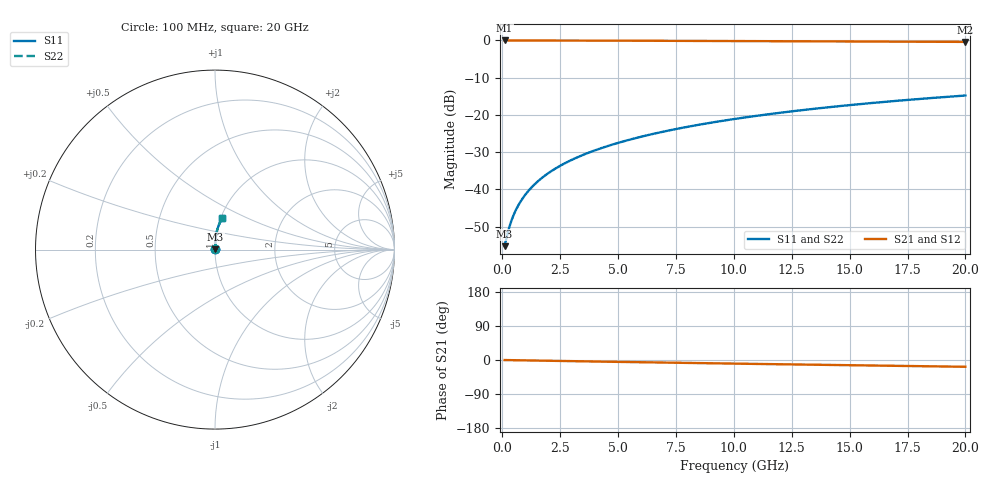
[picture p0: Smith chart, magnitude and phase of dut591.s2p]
! Touchstone file exported from HFSS 2024.1.0
!  File:  C:/UserFiles/LocalFiles/RDL_TSV_Batchsim/temp_RDL_top_591_1779682474.aedt
!  Generated:  12:16:49 PM May 25, 2026
!  Design:  RDL_top
!  Project:  temp_RDL_top_591_1779682474
!  Setup:  Setup1
!  Solution:  Sweep
! Variables:
!  dtsv = 10.80580581um
!  hbump = 3um
!  htsv = 93.78um
!  ldown = 100um
!  lrdl = 245.26um
!  p = 40
!  p1 = 40.01um
!  rhole = 1um
!  t = 450um
!  tdown = 3.915915916um
!  trdl = 3.54um
!  wdown = 15.38538539um
!  wrdl = 19.31um
# GHz S MA R 50.000000
! Terminal data exported
! Port[1] = Box2_T1
! Port[2] = Box2_T2
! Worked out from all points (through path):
!   200 points, 100 MHz to 20 GHz, reference 50 ohm
!   highest |S21| = -0.01 dB at 100 MHz (marker M1); lowest = -0.4 dB at 20 GHz (marker M2)
!   group delay of S21, straight-line fit = 2.47 ps
!   lowest |S11| = -55.2 dB at 100 MHz (marker M3), VSWR 1.00, Z = 50.1 + j0.0917 ohm
!   |S11| at or under -10 dB: start of sweep to end of sweep
!   |S22| runs from -55.2 to -14.8 dB; largest |S21 - S12| = 3e-15
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0.1  0.001734 31.8  0.9985 -0.1  0.9985 -0.1  0.001734 31.8
! Gamma 0 0 0 0
! Port Impedance 50 0 50 0
0.2  0.002364 49.7  0.9985 -0.2  0.9985 -0.2  0.002364 49.7
0.3  0.0031 59.1  0.9984 -0.3  0.9984 -0.3  0.0031 59.1
0.4  0.003861 64.7  0.9983 -0.4  0.9983 -0.4  0.003862 64.7
0.5  0.00463 68.5  0.9982 -0.5  0.9982 -0.5  0.004631 68.5
0.6  0.005404 71.3  0.9982 -0.6  0.9982 -0.6  0.005404 71.3
0.8  0.006966 75.2  0.998 -0.8  0.998 -0.8  0.006967 75.2
1.1  0.009345 78.8  0.9979 -1.1  0.9979 -1.1  0.009345 78.8
1.3  0.01095 80.4  0.9977 -1.3  0.9977 -1.3  0.01095 80.4
1.6  0.01338 82.1  0.9975 -1.6  0.9975 -1.6  0.01338 82.1
2.1  0.01747 83.9  0.997 -2.1  0.997 -2.1  0.01747 83.9
2.7  0.02245 85.2  0.9962 -2.7  0.9962 -2.7  0.02245 85.2
3.5  0.02919 86.2  0.995 -3.5  0.995 -3.5  0.02919 86.2
4.2  0.03519 86.7  0.9938 -4.2  0.9938 -4.2  0.03519 86.7
5  0.04215 87.0  0.9922 -5.0  0.9922 -5.0  0.04215 87.0
5.9  0.05014 87.0  0.9903 -5.8  0.9903 -5.8  0.05014 87.0
6.8  0.05826 86.9  0.9882 -6.7  0.9882 -6.7  0.05826 86.9
8.4  0.07299 86.2  0.9843 -8.1  0.9843 -8.1  0.07299 86.2
10.1  0.08894 85.3  0.9801 -9.6  0.9801 -9.6  0.08894 85.3
13.4  0.1203 82.7  0.9718 -12.4  0.9718 -12.4  0.1203 82.7
16.7  0.1515 79.9  0.9636 -15.2  0.9636 -15.2  0.1515 79.9
20  0.1822 76.9  0.9553 -17.9  0.9553 -17.9  0.1822 76.9
